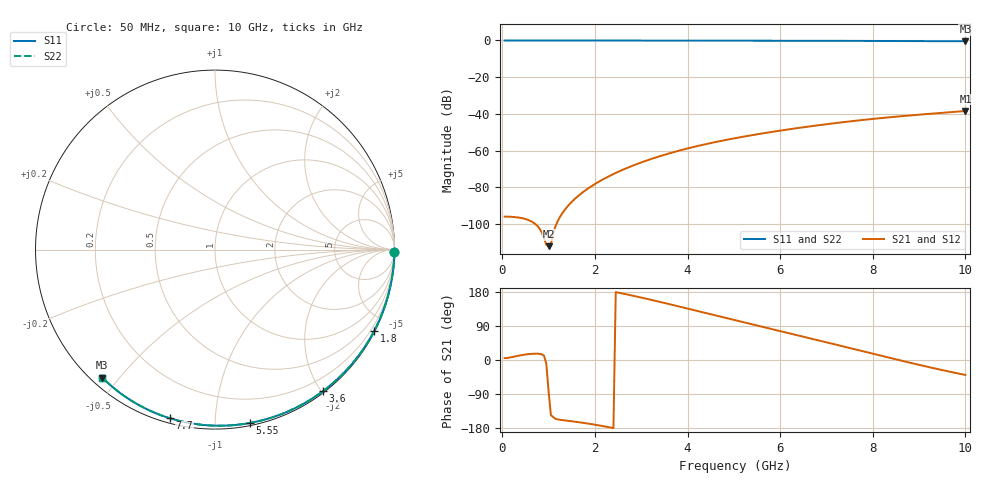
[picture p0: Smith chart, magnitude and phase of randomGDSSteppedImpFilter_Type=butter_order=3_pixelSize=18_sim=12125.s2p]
! freq	dB(S11)	phase(S11)	dB(S12)	phase(S12)
!  dB(S21)	phase(S21)	dB(S22)	phase(S22)
!S-par simulation data
#  GHz  S  DB  R 50
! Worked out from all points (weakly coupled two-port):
!   200 points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, 50 MHz to 10 GHz, reference 50 ohm
!   highest |S21| = -38.40 dB at 10 GHz (marker M1); lowest = -112.0 dB at 1 GHz (marker M2)
!   lowest |S11| = -0.4 dB at 10 GHz (marker M3), VSWR 39.04, Z = 1.54 - j22.6 ohm
!   |S11| at or under -10 dB: nowhere
!   |S22| runs from -0.4 to 0.0 dB; largest |S21 - S12| = 0
!   S11 on the Smith chart (normalised r, x): 50 MHz: open; 1.8 GHz: 0.04, -4.18; 3.6 GHz: 0.02, -2.02; 5.55 GHz: 0.02, -1.22; 7.7 GHz: 0.02, -0.77; 10 GHz: 0.03, -0.45
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0.05  -0.00 -0.8  -95.90 5.0  -95.90 5.0  -0.00 -0.8
0.5  -0.01 -7.6  -97.21 14.5  -97.21 14.5  -0.01 -7.6
1  -0.02 -15.1  -112.00 -83.1  -112.00 -83.1  -0.02 -15.1
1.75  -0.03 -26.2  -82.42 -165.9  -82.42 -165.9  -0.03 -26.2
1.8  -0.03 -26.9  -81.50 -166.8  -81.50 -166.8  -0.03 -26.9
1.9  -0.04 -28.4  -79.77 -168.7  -79.77 -168.7  -0.04 -28.4
2.05  -0.04 -30.6  -77.41 -171.7  -77.41 -171.7  -0.04 -30.6
2.25  -0.04 -33.5  -74.61 -176.1  -74.61 -176.1  -0.04 -33.5
2.65  -0.05 -39.3  -69.88 174.1  -69.88 174.1  -0.05 -39.3
3  -0.06 -44.2  -66.41 164.8  -66.41 164.8  -0.06 -44.2
3.4  -0.07 -49.9  -63.02 153.5  -63.02 153.5  -0.07 -49.9
3.6  -0.07 -52.7  -61.51 147.6  -61.51 147.6  -0.07 -52.7
3.9  -0.08 -56.8  -59.44 138.8  -59.44 138.8  -0.08 -56.8
4.3  -0.09 -62.2  -56.98 126.8  -56.98 126.8  -0.09 -62.2
5.05  -0.11 -72.2  -53.10 104.4  -53.10 104.4  -0.11 -72.2
5.55  -0.13 -78.7  -50.89 89.6  -50.89 89.6  -0.13 -78.7
6.1  -0.15 -85.6  -48.71 73.4  -48.71 73.4  -0.15 -85.6
6.7  -0.18 -93.0  -46.58 55.6  -46.58 55.6  -0.18 -93.0
7.7  -0.24 -105.0  -43.51 25.6  -43.51 25.6  -0.24 -105.0
8.35  -0.29 -112.6  -41.85 6.1  -41.85 6.1  -0.29 -112.6
9.15  -0.36 -121.7  -40.10 -17.1  -40.10 -17.1  -0.36 -121.7
10  -0.45 -131.4  -38.40 -39.5  -38.40 -39.5  -0.45 -131.4
